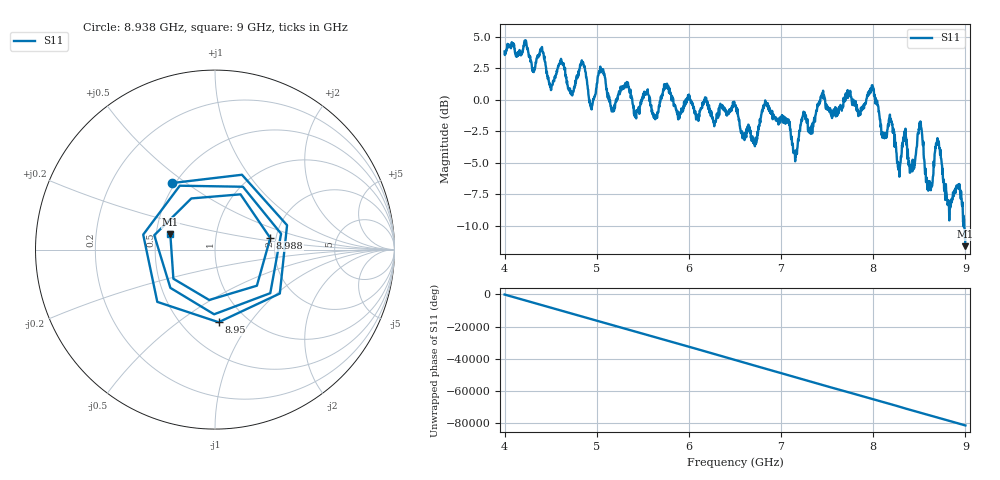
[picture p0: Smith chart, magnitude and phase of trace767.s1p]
! Created with skrf 1.8.0 (http://scikit-rf.org).
# Hz S RI R 50.0
!freq ReS11 ImS11
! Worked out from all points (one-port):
!   1601 points, 4 GHz to 9 GHz, reference 50 ohm
!   lowest |S11| = -11.6 dB at 9 GHz (marker M1), VSWR 1.71, Z = 29.7 + j5.39 ohm
!   |S11| at or under -10 dB: 8.980803 GHz to 8.981261 GHz (457.2 kHz wide, 0.00509 % of centre); 8.987715 GHz to end of sweep
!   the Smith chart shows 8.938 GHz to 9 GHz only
!   S11 on the Smith chart (normalised r, x): 8.938 GHz: 0.48, +0.44; 8.95 GHz: 0.74, -0.72; 8.988 GHz: 1.87, +0.27; 9 GHz: 0.59, +0.11
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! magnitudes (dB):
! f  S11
! 4 GHz  3.8
! 4.406 GHz  4.2
! 4.503 GHz  0.8
! 4.625 GHz  2.9
! 4.725 GHz  0.7
! 4.85 GHz  3.0
! 4.941 GHz  -0.5
! 5.047 GHz  2.2
! 5.162 GHz  -0.9
! 5.25 GHz  0.4
! 5.875 GHz  -1.2
! 6.5 GHz  -0.5
! 6.597 GHz  -3.1
! 6.841 GHz  -0.5
! 7.125 GHz  -3.5
! 7.444 GHz  0.5
! 7.75 GHz  0.7
! 7.988 GHz  1.2
! 8.275 GHz  -5.6
! 8.375 GHz  -3.9
! 8.506 GHz  -1.9
! 8.6 GHz  -7.0
! 8.697 GHz  -3.0
! 8.819 GHz  -8.3
! 8.938 GHz  -7.1
! 8.95 GHz  -7.8
! 8.988 GHz  -10.0
! 9 GHz  -11.6
